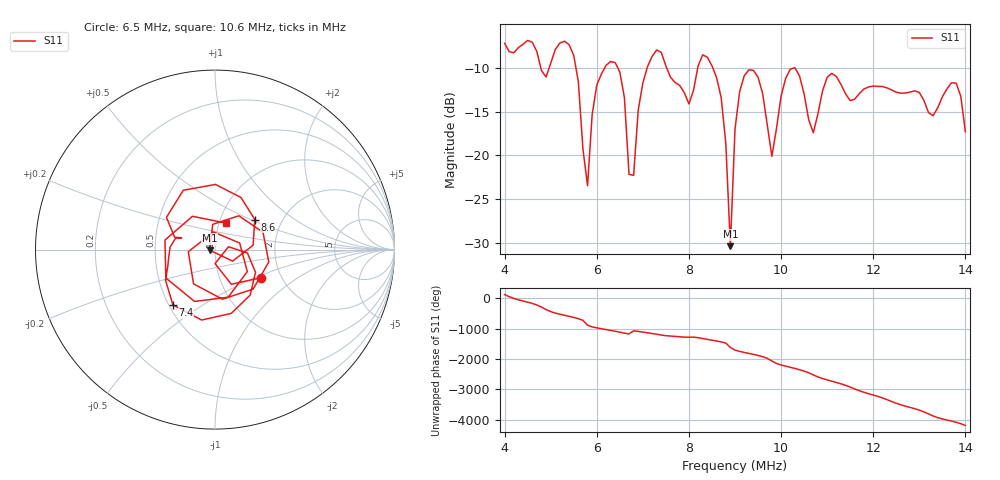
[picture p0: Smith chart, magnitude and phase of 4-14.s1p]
# HZ S RI R 50
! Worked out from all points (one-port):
!   101 points, 4 MHz to 14 MHz, reference 50 ohm
!   lowest |S11| = -30.4 dB at 8.9 MHz (marker M1), VSWR 1.06, Z = 47.1 - j0.289 ohm
!   |S11| at or under -10 dB: 5.547 MHz to 6.173 MHz (626.3 kHz wide, 10.7 % of centre); 8.516 MHz to 10.3 MHz (1.782 MHz wide, 18.9 % of centre); 10.3 MHz to end of sweep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
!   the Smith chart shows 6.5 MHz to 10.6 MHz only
!   S11 on the Smith chart (normalised r, x): 6.5 MHz: 1.57, -0.54; 7.4 MHz: 0.53, -0.38; 8.6 MHz: 1.46, +0.53; 10.6 MHz: 1.07, +0.33
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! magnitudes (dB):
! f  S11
! 4 MHz  -7.2
! 4.9 MHz  -11.1
! 5.3 MHz  -7.0
! 5.6 MHz  -11.6
! 5.8 MHz  -23.5
! 6 MHz  -12.0
! 6.5 MHz  -10.5
! 6.7 MHz  -22.2
! 6.8 MHz  -22.3
! 7 MHz  -11.7
! 7.4 MHz  -8.2
! 7.8 MHz  -12.0
! 8 MHz  -14.1
! 8.3 MHz  -8.5
! 8.6 MHz  -11.1
! 8.8 MHz  -18.6
! 8.9 MHz  -30.4
! 9 MHz  -17.0
! 9.4 MHz  -10.3
! 9.8 MHz  -20.1
! 10.3 MHz  -10.0
! 10.6 MHz  -15.9
! 11.1 MHz  -10.6
! 11.5 MHz  -13.7
! 12.8 MHz  -12.8
! 13.3 MHz  -15.5
! 13.8 MHz  -11.8
! 14 MHz  -17.3
